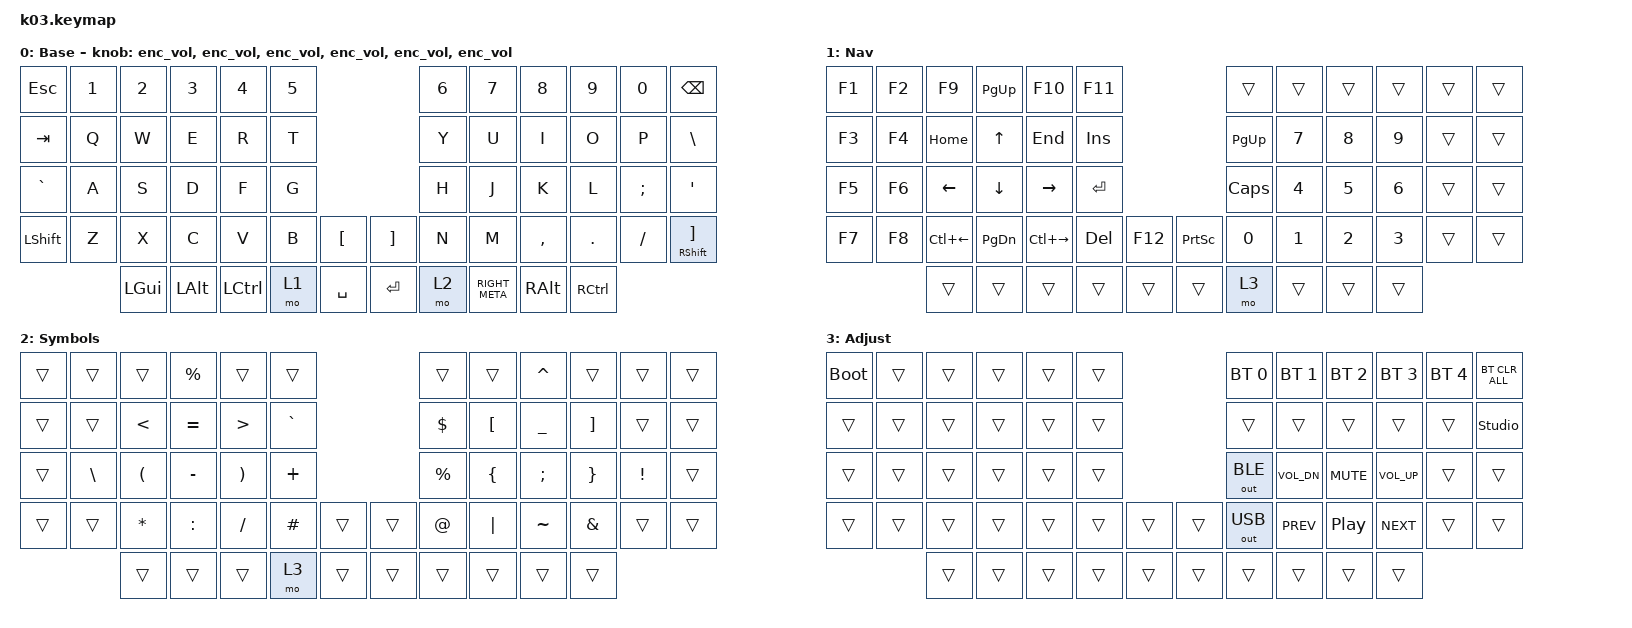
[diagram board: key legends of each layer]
#include "keys_ru.h"
#include <behaviors.dtsi>
#include <dt-bindings/zmk/bt.h>
#include <dt-bindings/zmk/keys.h>
#include <dt-bindings/zmk/outputs.h>

/ {
    behaviors {
        enc_vol: enc_vol {
            compatible = "zmk,behavior-sensor-rotate";
            label = "ENC_VOL";
            #sensor-binding-cells = <0>;
            bindings = <&kp C_VOL_UP>, <&kp C_VOL_DN>;
        };
    };

    keymap {
        compatible = "zmk,keymap";

        base {
            bindings = <
&kp ESC    &kp N1  &kp N2    &kp N3    &kp N4     &kp N5                          &kp N6  &kp N7          &kp N8     &kp N9     &kp N0    &kp BSPC
&kp TAB    &kp Q   &kp W     &kp E     &kp R      &kp T                           &kp Y   &kp U           &kp I      &kp O      &kp P     &kp BSLH
&kp GRAVE  &kp A   &kp S     &kp D     &kp F      &kp G                           &kp H   &kp J           &kp K      &kp L      &kp SEMI  &kp SQT
&kp LSHFT  &kp Z   &kp X     &kp C     &kp V      &kp B   &kp LBKT     &kp RBKT   &kp N   &kp M           &kp COMMA  &kp DOT    &kp FSLH  &mt RSHFT RIGHT_BRACKET
                   &kp LGUI  &kp LALT  &kp LCTRL  &mo 1   &kp SPACE    &kp ENTER  &mo 2   &kp RIGHT_META  &kp RALT   &kp RCTRL
            >;

            display-name = "Base";
            sensor-bindings =
                <&enc_vol>,
                <&enc_vol>,
                <&enc_vol>,
                <&enc_vol>,
                <&enc_vol>,
                <&enc_vol>;
        };

        nav {
            bindings = <
&kp F1  &kp F2  &kp F9        &kp PAGE_UP    &kp F10        &kp F11                              &trans        &trans  &trans  &trans  &trans  &trans
&kp F3  &kp F4  &kp HOME      &kp UP         &kp END        &kp INS                              &kp PG_UP     &kp N7  &kp N8  &kp N9  &trans  &trans
&kp F5  &kp F6  &kp LEFT      &kp DOWN       &kp RIGHT      &kp RET                              &kp CLCK      &kp N4  &kp N5  &kp N6  &trans  &trans
&kp F7  &kp F8  &kp LC(LEFT)  &kp PAGE_DOWN  &kp LC(RIGHT)  &kp DEL  &kp F12    &kp PRINTSCREEN  &kp NUMBER_0  &kp N1  &kp N2  &kp N3  &trans  &trans
                &trans        &trans         &trans         &trans   &trans     &trans           &mo 3         &trans  &trans  &trans
            >;

            display-name = "Nav";
        };

        sym {
            bindings = <
&trans  &trans    &trans    &kp PERCENT  &trans    &trans                       &trans      &trans    &kp CARET  &trans    &trans    &trans
&trans  &trans    &kp LT    &kp EQUAL    &kp GT    &kp GRAVE                    &kp DOLLAR  &kp LBKT  &kp UNDER  &kp RBKT  &trans    &trans
&trans  &kp BSLH  &kp LPAR  &kp MINUS    &kp RPAR  &kp PLUS                     &kp PRCNT   &kp LBRC  &kp SEMI   &kp RBRC  &kp EXCL  &trans
&trans  &trans    &kp STAR  &kp COLON    &kp FSLH  &kp HASH   &trans    &trans  &kp AT      &kp PIPE  &kp TILDE  &kp AMPS  &trans    &trans
                  &trans    &trans       &trans    &mo 3      &trans    &trans  &trans      &trans    &trans     &trans
            >;

            display-name = "Symbols";
        };

        adj {
            bindings = <
&bootloader  &trans  &trans  &trans  &trans  &trans                    &bt BT_SEL 0  &bt BT_SEL 1  &bt BT_SEL 2      &bt BT_SEL 3  &bt BT_SEL 4  &bt BT_CLR_ALL
&trans       &trans  &trans  &trans  &trans  &trans                    &trans        &trans        &trans            &trans        &trans        &studio_unlock
&trans       &trans  &trans  &trans  &trans  &trans                    &out OUT_BLE  &kp C_VOL_DN  &kp C_MUTE        &kp C_VOL_UP  &trans        &trans
&trans       &trans  &trans  &trans  &trans  &trans  &trans    &trans  &out OUT_USB  &kp C_PREV    &kp C_PLAY_PAUSE  &kp C_NEXT    &trans        &trans
                     &trans  &trans  &trans  &trans  &trans    &trans  &trans        &trans        &trans            &trans
            >;

            display-name = "Adjust";
        };
    };
};
